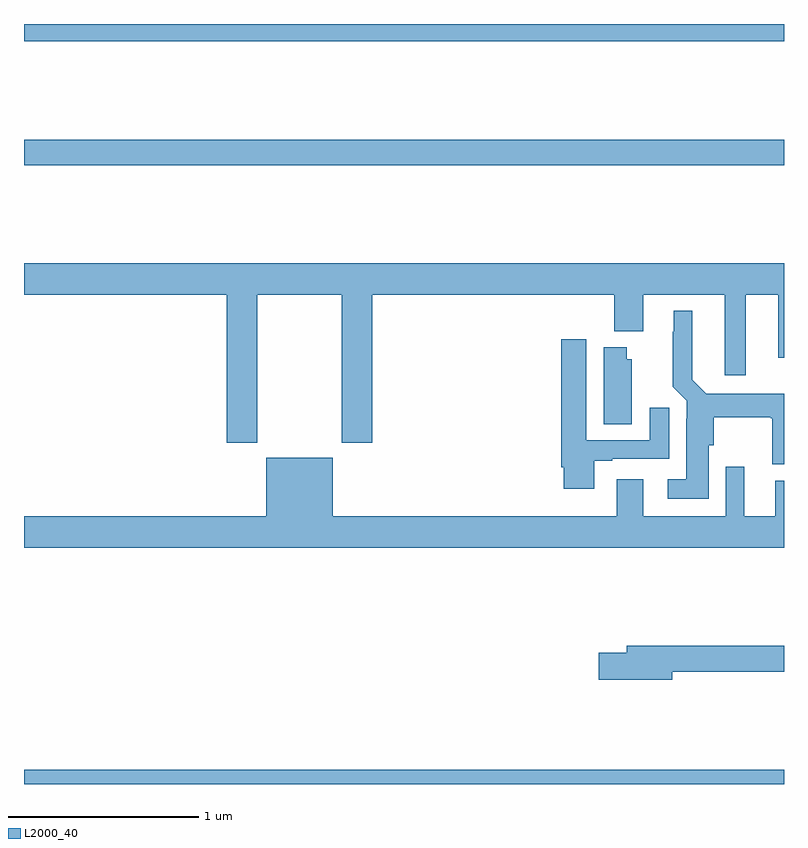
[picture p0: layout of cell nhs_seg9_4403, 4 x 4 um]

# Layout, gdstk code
import gdstk
lib = gdstk.Library(unit=1e-6, precision=1e-09)
def R(c, l, rs):  # rectangles x0, y0, x1, y1
    for r in rs: c.add(gdstk.rectangle(r[:2], r[2:], *l))
def P(c, l, *ps):  # polygons
    for p in ps: c.add(gdstk.Polygon(p, *l))
L2000_40 = (2000, 40)

nhs_seg9_4403 = lib.new_cell('nhs_seg9_4403')
R(nhs_seg9_4403, L2000_40, [(363,1204.5,367,1204.576), (363,1207.756,367,1207.892), (363,1208.408,367,1208.5)])
P(nhs_seg9_4403, L2000_40, [(364.227,1207.076),(364.672,1207.076),(364.672,1206.297),(364.832,1206.297),(364.832,1207.076),(366.107,1207.076),(366.107,1206.884),(366.259,1206.884),(366.259,1207.076),(366.689,1207.076),(366.689,1206.651),(366.799,1206.651),(366.799,1207.076),(366.971,1207.076),(366.971,1206.744),(367,1206.744),(367,1207.24),(363,1207.24),(363,1207.076),(364.067,1207.076),(364.067,1206.297),(364.227,1206.297)],
  [(366.604,1206.282),(366.63,1206.282),(366.63,1206.431),(366.931,1206.431),(366.931,1206.424),(366.938,1206.424),(366.938,1206.182),(367,1206.182),(367,1206.553),(366.591,1206.553),(366.517,1206.628),(366.517,1206.991),(366.419,1206.991),(366.419,1206.881),(366.415,1206.881),(366.415,1206.59),(366.489,1206.516),(366.489,1206.422),(366.485,1206.422),(366.485,1206.103),(366.387,1206.103),(366.387,1206.002),(366.604,1206.002)],
  [(366.001,1206.201),(366.097,1206.201),(366.097,1206.213),(366.397,1206.213),(366.397,1206.481),(366.293,1206.481),(366.293,1206.309),(365.959,1206.309),(365.959,1206.841),(365.828,1206.841),(365.828,1206.166),(365.84,1206.166),(365.84,1206.054),(366.001,1206.054)],
  [(366.199,1206.735),(366.172,1206.735),(366.172,1206.799),(366.05,1206.799),(366.05,1206.394),(366.199,1206.394)],
  [(367,1206.097),(366.953,1206.097),(366.953,1205.908),(366.79,1205.908),(366.79,1206.169),(366.693,1206.169),(366.693,1205.908),(366.259,1205.908),(366.259,1206.103),(366.119,1206.103),(366.119,1205.908),(364.624,1205.908),(364.624,1206.217),(364.274,1206.217),(364.274,1205.908),(363,1205.908),(363,1205.744),(367,1205.744)],
  [(366.412,1205.092),(367,1205.092),(367,1205.228),(366.173,1205.228),(366.173,1205.192),(366.024,1205.192),(366.024,1205.05),(366.412,1205.05)])

lib.write_gds('nhs_seg9_4403.gds')
